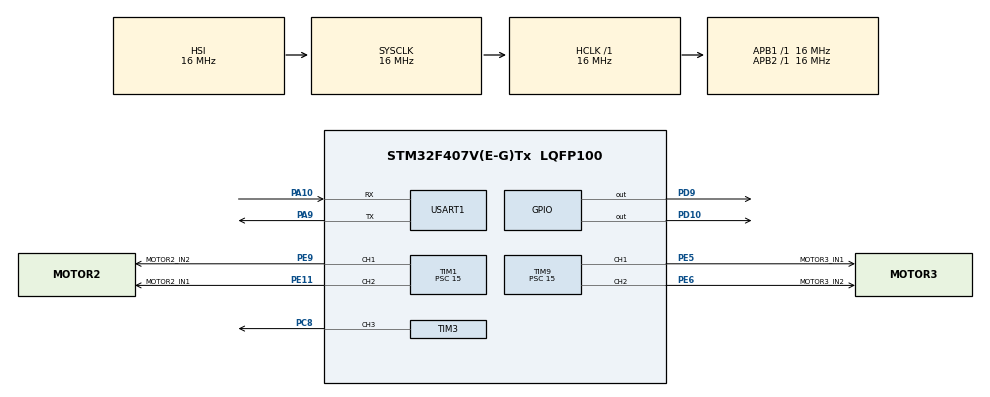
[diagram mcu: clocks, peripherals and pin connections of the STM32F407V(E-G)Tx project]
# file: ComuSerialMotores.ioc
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Mcu.Family=STM32F4
Mcu.Name=STM32F407V(E-G)Tx
Mcu.Package=LQFP100
NVIC.PriorityGroup=NVIC_PRIORITYGROUP_4
NVIC.USART1_IRQn=true\:0\:0\:false\:false\:true\:true\:true\:true
PA10.Mode=Asynchronous
PA10.Signal=USART1_RX
PA9.Mode=Asynchronous
PA9.Signal=USART1_TX
PC8.Signal=S_TIM3_CH3
PD10.Signal=GPIO_Output
PD9.Signal=GPIO_Output
PE11.GPIO_Label=MOTOR2_IN1
PE11.Signal=S_TIM1_CH2
PE5.GPIO_Label=MOTOR3_IN1
PE5.Signal=S_TIM9_CH1
PE6.GPIO_Label=MOTOR3_IN2
PE6.Signal=S_TIM9_CH2
PE9.GPIO_Label=MOTOR2_IN2
PE9.Signal=S_TIM1_CH1
ProjectManager.HeapSize=0x200
ProjectManager.StackSize=0x400
ProjectManager.TargetToolchain=STM32CubeIDE
RCC.AHBFreq_Value=16000000
RCC.APB1Freq_Value=16000000
RCC.APB2Freq_Value=16000000
RCC.CortexFreq_Value=16000000
RCC.HSE_VALUE=25000000
RCC.HSI_VALUE=16000000
RCC.LSE_VALUE=32768
RCC.SYSCLKFreq_VALUE=16000000
RCC.VCOOutputFreq_Value=192000000
SH.S_TIM1_CH1.0=TIM1_CH1,PWM Generation1 CH1
SH.S_TIM1_CH2.0=TIM1_CH2,PWM Generation2 CH2
SH.S_TIM3_CH3.0=TIM3_CH3,PWM Generation3 CH3
SH.S_TIM9_CH1.0=TIM9_CH1,PWM Generation1 CH1
SH.S_TIM9_CH2.0=TIM9_CH2,PWM Generation2 CH2
TIM1.Channel-PWM\ Generation1\ CH1=TIM_CHANNEL_1
TIM1.Channel-PWM\ Generation2\ CH2=TIM_CHANNEL_2
TIM1.Period=999
TIM1.Prescaler=15
TIM3.Channel-PWM\ Generation3\ CH3=TIM_CHANNEL_3
TIM3.Period=19999
TIM3.Prescaler=15
TIM9.Channel-PWM\ Generation1\ CH1=TIM_CHANNEL_1
TIM9.Channel-PWM\ Generation2\ CH2=TIM_CHANNEL_2
TIM9.Period=999
TIM9.Prescaler=15
USART1.VirtualMode=VM_ASYNC
VP_TIM3_VS_ClockSourceINT.Mode=Internal
board=custom

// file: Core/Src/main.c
/* USER CODE BEGIN Header */
/**
  ******************************************************************************
  * @file           : main.c
  * @brief          : Main program body
  ******************************************************************************
  * @attention
  *
  * Copyright (c) 2026 STMicroelectronics.
  * All rights reserved.
  *
  * This software is licensed under terms that can be found in the LICENSE file
  * in the root directory of this software component.
  * If no LICENSE file comes with this software, it is provided AS-IS.
  *
  ******************************************************************************
  */
/* USER CODE END Header */
#include "main.h"

TIM_HandleTypeDef htim1;
TIM_HandleTypeDef htim3;
TIM_HandleTypeDef htim9;

UART_HandleTypeDef huart1;

/* USER CODE BEGIN PV */
uint8_t rx_buffer[7]; // Ahora recibe 7 bytes: [AA, 55, CMD, DIR_DC, VEL_DC, DIR_SERVO, FF]
/* USER CODE END PV */

void SystemClock_Config(void);
static void MX_GPIO_Init(void);
static void MX_TIM1_Init(void);
static void MX_TIM9_Init(void);
static void MX_USART1_UART_Init(void);
static void MX_TIM3_Init(void);

int main(void)
{

  /* MCU Configuration--------------------------------------------------------*/

  /* Reset of all peripherals, Initializes the Flash interface and the Systick. */
  HAL_Init();

  /* Configure the system clock */
  SystemClock_Config();

  /* Initialize all configured peripherals */
  MX_GPIO_Init();
  MX_TIM1_Init();
  MX_TIM9_Init();
  MX_USART1_UART_Init();
  MX_TIM3_Init();

  /* USER CODE BEGIN 2 */
    // Encendemos los canales PWM del Motor 2 y Motor 3 (Tracción)
    HAL_TIM_PWM_Start(&htim1, TIM_CHANNEL_1);
    HAL_TIM_PWM_Start(&htim1, TIM_CHANNEL_2);
    HAL_TIM_PWM_Start(&htim9, TIM_CHANNEL_1);
    HAL_TIM_PWM_Start(&htim9, TIM_CHANNEL_2);

    // Encendemos el PWM del Servo en el pin PC8 y lo centramos (1500 us)
    HAL_TIM_PWM_Start(&htim3, TIM_CHANNEL_3);
    __HAL_TIM_SET_COMPARE(&htim3, TIM_CHANNEL_3, 1500);

    // ¡Empezar a escuchar por el cable USB los 7 bytes!
    HAL_UART_Receive_IT(&huart1, rx_buffer, 7);
    /* USER CODE END 2 */

  /* Infinite loop */
  /* USER CODE BEGIN WHILE */
  /* USER CODE BEGIN WHILE */
    while (1)
    {
    /* USER CODE END WHILE */

    }
}

void SystemClock_Config(void)
{
  RCC_OscInitTypeDef RCC_OscInitStruct = {0};
  RCC_ClkInitTypeDef RCC_ClkInitStruct = {0};

  /** Configure the main internal regulator output voltage
  */
  __HAL_RCC_PWR_CLK_ENABLE();
  __HAL_PWR_VOLTAGESCALING_CONFIG(PWR_REGULATOR_VOLTAGE_SCALE1);

  /** Initializes the RCC Oscillators according to the specified parameters
  * in the RCC_OscInitTypeDef structure.
  */
  RCC_OscInitStruct.OscillatorType = RCC_OSCILLATORTYPE_HSI;
  RCC_OscInitStruct.HSIState = RCC_HSI_ON;
  RCC_OscInitStruct.HSICalibrationValue = RCC_HSICALIBRATION_DEFAULT;
  RCC_OscInitStruct.PLL.PLLState = RCC_PLL_NONE;
  if (HAL_RCC_OscConfig(&RCC_OscInitStruct) != HAL_OK)
  {
    Error_Handler();
  }

  /** Initializes the CPU, AHB and APB buses clocks
  */
  RCC_ClkInitStruct.ClockType = RCC_CLOCKTYPE_HCLK|RCC_CLOCKTYPE_SYSCLK
                              |RCC_CLOCKTYPE_PCLK1|RCC_CLOCKTYPE_PCLK2;
  RCC_ClkInitStruct.SYSCLKSource = RCC_SYSCLKSOURCE_HSI;
  RCC_ClkInitStruct.AHBCLKDivider = RCC_SYSCLK_DIV1;
  RCC_ClkInitStruct.APB1CLKDivider = RCC_HCLK_DIV1;
  RCC_ClkInitStruct.APB2CLKDivider = RCC_HCLK_DIV1;

  if (HAL_RCC_ClockConfig(&RCC_ClkInitStruct, FLASH_LATENCY_0) != HAL_OK)
  {
    Error_Handler();
  }
}

static void MX_TIM1_Init(void)
{

  TIM_MasterConfigTypeDef sMasterConfig = {0};
  TIM_OC_InitTypeDef sConfigOC = {0};
  TIM_BreakDeadTimeConfigTypeDef sBreakDeadTimeConfig = {0};

  htim1.Instance = TIM1;
  htim1.Init.Prescaler = 15;
  htim1.Init.CounterMode = TIM_COUNTERMODE_UP;
  htim1.Init.Period = 999;
  htim1.Init.ClockDivision = TIM_CLOCKDIVISION_DIV1;
  htim1.Init.RepetitionCounter = 0;
  htim1.Init.AutoReloadPreload = TIM_AUTORELOAD_PRELOAD_DISABLE;
  if (HAL_TIM_PWM_Init(&htim1) != HAL_OK)
  {
    Error_Handler();
  }
  sMasterConfig.MasterOutputTrigger = TIM_TRGO_RESET;
  sMasterConfig.MasterSlaveMode = TIM_MASTERSLAVEMODE_DISABLE;
  if (HAL_TIMEx_MasterConfigSynchronization(&htim1, &sMasterConfig) != HAL_OK)
  {
    Error_Handler();
  }
  sConfigOC.OCMode = TIM_OCMODE_PWM1;
  sConfigOC.Pulse = 0;
  sConfigOC.OCPolarity = TIM_OCPOLARITY_HIGH;
  sConfigOC.OCNPolarity = TIM_OCNPOLARITY_HIGH;
  sConfigOC.OCFastMode = TIM_OCFAST_DISABLE;
  sConfigOC.OCIdleState = TIM_OCIDLESTATE_RESET;
  sConfigOC.OCNIdleState = TIM_OCNIDLESTATE_RESET;
  if (HAL_TIM_PWM_ConfigChannel(&htim1, &sConfigOC, TIM_CHANNEL_1) != HAL_OK)
  {
    Error_Handler();
  }
  if (HAL_TIM_PWM_ConfigChannel(&htim1, &sConfigOC, TIM_CHANNEL_2) != HAL_OK)
  {
    Error_Handler();
  }
  sBreakDeadTimeConfig.OffStateRunMode = TIM_OSSR_DISABLE;
  sBreakDeadTimeConfig.OffStateIDLEMode = TIM_OSSI_DISABLE;
  sBreakDeadTimeConfig.LockLevel = TIM_LOCKLEVEL_OFF;
  sBreakDeadTimeConfig.DeadTime = 0;
  sBreakDeadTimeConfig.BreakState = TIM_BREAK_DISABLE;
  sBreakDeadTimeConfig.BreakPolarity = TIM_BREAKPOLARITY_HIGH;
  sBreakDeadTimeConfig.AutomaticOutput = TIM_AUTOMATICOUTPUT_DISABLE;
  if (HAL_TIMEx_ConfigBreakDeadTime(&htim1, &sBreakDeadTimeConfig) != HAL_OK)
  {
    Error_Handler();
  }
  HAL_TIM_MspPostInit(&htim1);

}

static void MX_TIM3_Init(void)
{

  TIM_ClockConfigTypeDef sClockSourceConfig = {0};
  TIM_MasterConfigTypeDef sMasterConfig = {0};
  TIM_OC_InitTypeDef sConfigOC = {0};

  htim3.Instance = TIM3;
  htim3.Init.Prescaler = 15;
  htim3.Init.CounterMode = TIM_COUNTERMODE_UP;
  htim3.Init.Period = 19999;
  htim3.Init.ClockDivision = TIM_CLOCKDIVISION_DIV1;
  htim3.Init.AutoReloadPreload = TIM_AUTORELOAD_PRELOAD_DISABLE;
  if (HAL_TIM_Base_Init(&htim3) != HAL_OK)
  {
    Error_Handler();
  }
  sClockSourceConfig.ClockSource = TIM_CLOCKSOURCE_INTERNAL;
  if (HAL_TIM_ConfigClockSource(&htim3, &sClockSourceConfig) != HAL_OK)
  {
    Error_Handler();
  }
  if (HAL_TIM_PWM_Init(&htim3) != HAL_OK)
  {
    Error_Handler();
  }
  sMasterConfig.MasterOutputTrigger = TIM_TRGO_RESET;
  sMasterConfig.MasterSlaveMode = TIM_MASTERSLAVEMODE_DISABLE;
  if (HAL_TIMEx_MasterConfigSynchronization(&htim3, &sMasterConfig) != HAL_OK)
  {
    Error_Handler();
  }
  sConfigOC.OCMode = TIM_OCMODE_PWM1;
  sConfigOC.Pulse = 0;
  sConfigOC.OCPolarity = TIM_OCPOLARITY_HIGH;
  sConfigOC.OCFastMode = TIM_OCFAST_DISABLE;
  if (HAL_TIM_PWM_ConfigChannel(&htim3, &sConfigOC, TIM_CHANNEL_3) != HAL_OK)
  {
    Error_Handler();
  }
  HAL_TIM_MspPostInit(&htim3);

}

static void MX_TIM9_Init(void)
{

  TIM_OC_InitTypeDef sConfigOC = {0};

  htim9.Instance = TIM9;
  htim9.Init.Prescaler = 15;
  htim9.Init.CounterMode = TIM_COUNTERMODE_UP;
  htim9.Init.Period = 999;
  htim9.Init.ClockDivision = TIM_CLOCKDIVISION_DIV1;
  htim9.Init.AutoReloadPreload = TIM_AUTORELOAD_PRELOAD_DISABLE;
  if (HAL_TIM_PWM_Init(&htim9) != HAL_OK)
  {
    Error_Handler();
  }
  sConfigOC.OCMode = TIM_OCMODE_PWM1;
  sConfigOC.Pulse = 0;
  sConfigOC.OCPolarity = TIM_OCPOLARITY_HIGH;
  sConfigOC.OCFastMode = TIM_OCFAST_DISABLE;
  if (HAL_TIM_PWM_ConfigChannel(&htim9, &sConfigOC, TIM_CHANNEL_1) != HAL_OK)
  {
    Error_Handler();
  }
  if (HAL_TIM_PWM_ConfigChannel(&htim9, &sConfigOC, TIM_CHANNEL_2) != HAL_OK)
  {
    Error_Handler();
  }
  HAL_TIM_MspPostInit(&htim9);

}

static void MX_USART1_UART_Init(void)
{

  huart1.Instance = USART1;
  huart1.Init.BaudRate = 115200;
  huart1.Init.WordLength = UART_WORDLENGTH_8B;
  huart1.Init.StopBits = UART_STOPBITS_1;
  huart1.Init.Parity = UART_PARITY_NONE;
  huart1.Init.Mode = UART_MODE_TX_RX;
  huart1.Init.HwFlowCtl = UART_HWCONTROL_NONE;
  huart1.Init.OverSampling = UART_OVERSAMPLING_16;
  if (HAL_UART_Init(&huart1) != HAL_OK)
  {
    Error_Handler();
  }

}

static void MX_GPIO_Init(void)
{
  GPIO_InitTypeDef GPIO_InitStruct = {0};

  /* GPIO Ports Clock Enable */
  __HAL_RCC_GPIOE_CLK_ENABLE();
  __HAL_RCC_GPIOD_CLK_ENABLE();
  __HAL_RCC_GPIOC_CLK_ENABLE();
  __HAL_RCC_GPIOA_CLK_ENABLE();

  /*Configure GPIO pin Output Level */
  HAL_GPIO_WritePin(GPIOD, GPIO_PIN_9|GPIO_PIN_10, GPIO_PIN_RESET);

  /*Configure GPIO pins : PD9 PD10 */
  GPIO_InitStruct.Pin = GPIO_PIN_9|GPIO_PIN_10;
  GPIO_InitStruct.Mode = GPIO_MODE_OUTPUT_PP;
  GPIO_InitStruct.Pull = GPIO_NOPULL;
  GPIO_InitStruct.Speed = GPIO_SPEED_FREQ_LOW;
  HAL_GPIO_Init(GPIOD, &GPIO_InitStruct);

}

/* USER CODE BEGIN 4 */
void HAL_UART_RxCpltCallback(UART_HandleTypeDef *huart) {
    if (huart->Instance == USART1) {

        // Verificar que la trama tenga el inicio (AA 55) y el fin (FF) correctos
        if (rx_buffer[0] == 0xAA && rx_buffer[1] == 0x55 && rx_buffer[6] == 0xFF) {

            uint8_t dir_dc    = rx_buffer[3]; // 0=Stop, 1=Adelante, 2=Atrás
            uint8_t speed_dc  = rx_buffer[4]; // 0 a 100
            uint8_t dir_servo = rx_buffer[5]; // 0=Centro, 1=Izq, 2=Der

            uint32_t pwm_val = speed_dc * 10;

            // ================= CONTROL DEL SERVO (PC8) =================
            if (dir_servo == 1) {
                __HAL_TIM_SET_COMPARE(&htim3, TIM_CHANNEL_3, 1300); // Izquierda
            } else if (dir_servo == 2) {
                __HAL_TIM_SET_COMPARE(&htim3, TIM_CHANNEL_3, 1800); // Derecha
            } else {
                __HAL_TIM_SET_COMPARE(&htim3, TIM_CHANNEL_3, 1500); // Centro
            }

            // ================= CONTROL MOTORES DC =================
            if (dir_dc == 2) {
                // ESTADO: ADELANTE
                HAL_GPIO_WritePin(GPIOD, GPIO_PIN_9, GPIO_PIN_SET);   // Prende LED PD9
                HAL_GPIO_WritePin(GPIOD, GPIO_PIN_10, GPIO_PIN_RESET);

                __HAL_TIM_SET_COMPARE(&htim1, TIM_CHANNEL_1, 0);
                __HAL_TIM_SET_COMPARE(&htim1, TIM_CHANNEL_2, pwm_val);
                __HAL_TIM_SET_COMPARE(&htim9, TIM_CHANNEL_1, 0);
                __HAL_TIM_SET_COMPARE(&htim9, TIM_CHANNEL_2, pwm_val);
            }
            else if (dir_dc == 1) {
                // ESTADO: REVERSA
                HAL_GPIO_WritePin(GPIOD, GPIO_PIN_9, GPIO_PIN_RESET);
                HAL_GPIO_WritePin(GPIOD, GPIO_PIN_10, GPIO_PIN_SET);  // Prende LED PD10

                __HAL_TIM_SET_COMPARE(&htim1, TIM_CHANNEL_1, pwm_val);
                __HAL_TIM_SET_COMPARE(&htim1, TIM_CHANNEL_2, 0);
                __HAL_TIM_SET_COMPARE(&htim9, TIM_CHANNEL_1, pwm_val);
                __HAL_TIM_SET_COMPARE(&htim9, TIM_CHANNEL_2, 0);
            }
            else {
                // ESTADO: DETENIDO (FRENO ACTIVO / CORTOCIRCUITO DINÁMICO)
                HAL_GPIO_WritePin(GPIOD, GPIO_PIN_9, GPIO_PIN_RESET);
                HAL_GPIO_WritePin(GPIOD, GPIO_PIN_10, GPIO_PIN_RESET);

                // Mandar el 100% (1000) a ambos pines bloquea los motores al instante
                __HAL_TIM_SET_COMPARE(&htim1, TIM_CHANNEL_1, 1000);
                __HAL_TIM_SET_COMPARE(&htim1, TIM_CHANNEL_2, 1000);
                __HAL_TIM_SET_COMPARE(&htim9, TIM_CHANNEL_1, 1000);
                __HAL_TIM_SET_COMPARE(&htim9, TIM_CHANNEL_2, 1000);
            }
        }
        // Limpiamos el buffer y nos preparamos para escuchar los siguientes 7 bytes
        rx_buffer[0] = 0;
        HAL_UART_Receive_IT(&huart1, rx_buffer, 7);
    }
}
/* USER CODE END 4 */

void Error_Handler(void)
{
  __disable_irq();
  while (1)
  {
  }
}
